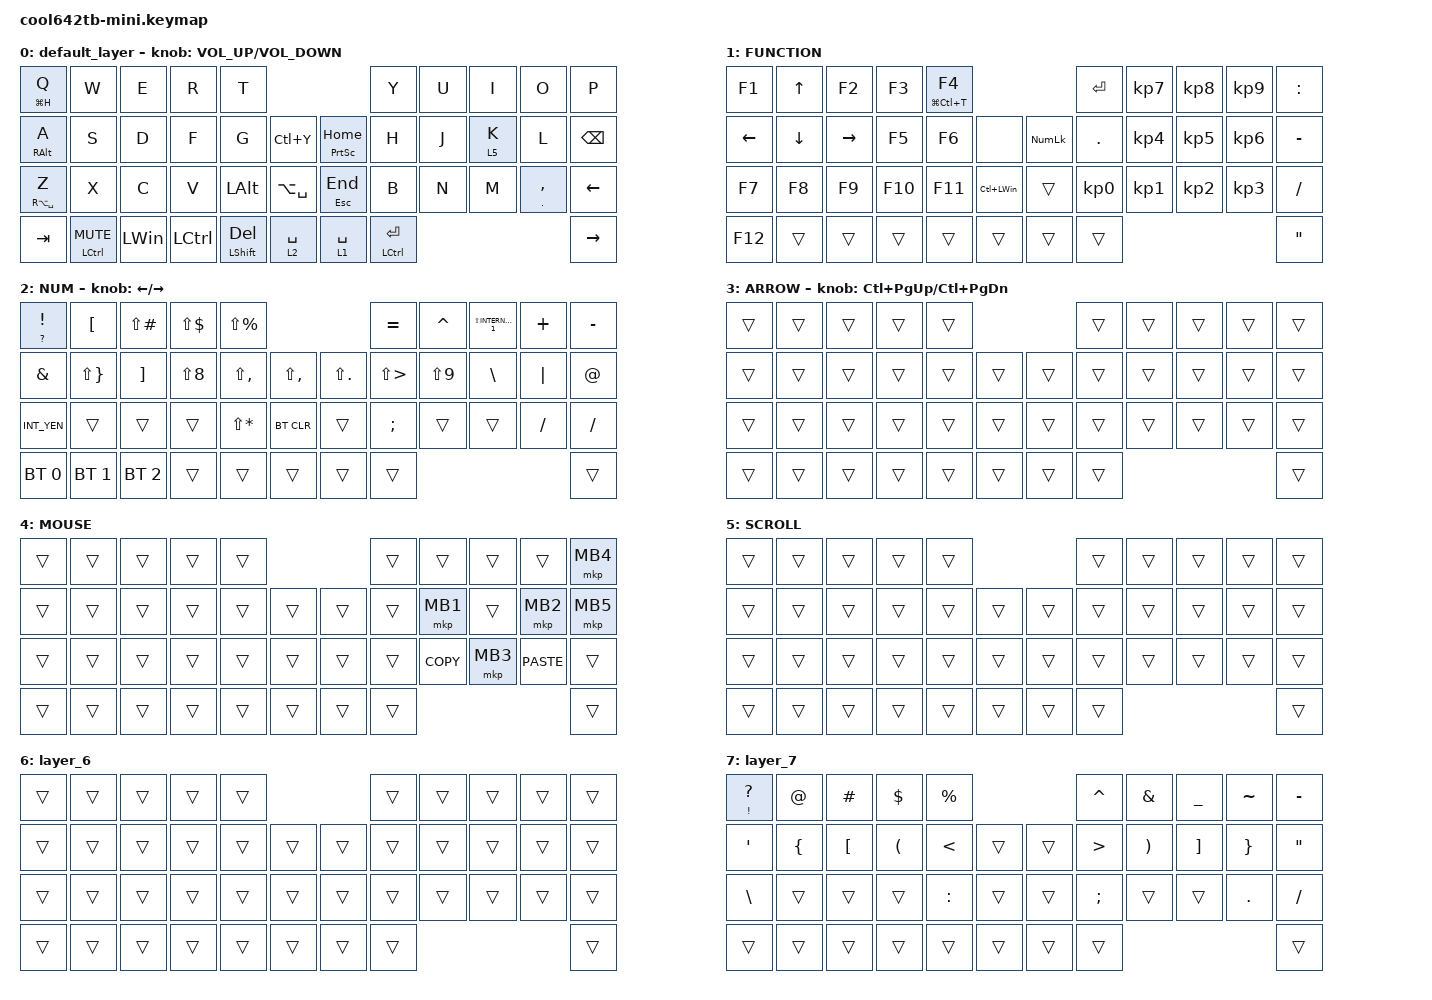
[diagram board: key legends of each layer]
#include <behaviors.dtsi>
#include <dt-bindings/zmk/bt.h>
#include <dt-bindings/zmk/keys.h>
#include <dt-bindings/zmk/pointing.h>

#define MOUSE 4
#define SCROLL 5
#define NUM 6
#define ZMK_POINTING_DEFAULT_SCRL_VAL 80

&mt {
    tapping-term-ms = <200>;
    quick-tap-ms = <0>;
    require-prior-idle-ms = <0>;
    flavor = "tap-preferred";
};

/ {
    combos {
        compatible = "zmk,combos";

        shift_tab {
            bindings = <&kp LANG2>;
            key-positions = <12 13>;
        };

        lang {
            bindings = <&kp LANG1>;
            key-positions = <18 19>;
        };

        play_pause {
            bindings = <&kp C_PLAY_PAUSE>;
            key-positions = <25 24>;
            layers = <0>;
        };

        hihun {
            bindings = <&kp MINUS>;
            key-positions = <20 21>;
        };

        Copy {
            bindings = <&kp LC(C)>;
            key-positions = <11 12>;
        };

        Cut {
            bindings = <&kp LC(X)>;
            key-positions = <1 2>;
        };

        Paste {
            bindings = <&kp LC(V)>;
            key-positions = <23 24>;
        };

        MLclick {
            bindings = <&mkp LCLK>;
            key-positions = <18 19 20>;
        };

        MRclick {
            bindings = <&mkp RCLK>;
            key-positions = <19 20>;
        };

        MCclick {
            bindings = <&mkp MCLK>;
            key-positions = <30 31 32>;
        };

        typeless-nandemo {
            bindings = <&kp LC(BACKSPACE)>;
            key-positions = <26 25>;
        };

        typeless-input {
            bindings = <&kp LC(SPACE)>;
            key-positions = <25 24>;
        };
    };

    behaviors {
        encoder_msc_down_up: encoder_msc_down_up {
            compatible = "zmk,behavior-sensor-rotate";
            label = "ENCODER_MSC_DOWN_UP";
            #sensor-binding-cells = <0>;
            bindings = <&msc SCRL_UP>, <&msc SCRL_DOWN>;

            tap-ms = <20>;
        };
    };

    keymap {
        compatible = "zmk,keymap";

        default_layer {
            bindings = <
&mt LG(H) Q      &kp W             &kp E         &kp R      &kp T                                                      &kp Y            &kp U  &kp I    &kp O          &kp P
&mt RIGHT_ALT A  &kp S             &kp D         &kp F      &kp G             &kp LC(Y)          &mt PRINTSCREEN HOME  &kp H            &kp J  &lt 5 K  &kp L          &kp BACKSPACE
&mt RA(SPACE) Z  &kp X             &kp C         &kp V      &kp LEFT_ALT      &kp LA(SPACE)      &mt ESC END           &kp B            &kp N  &kp M    &mt DOT COMMA  &kp LEFT_ARROW
&kp TAB          &mt LCTRL C_MUTE  &kp LEFT_WIN  &kp LCTRL  &mt LSHFT DELETE  &lt 2 SPACE        &lt 1 SPACE           &mt LCTRL ENTER                                 &kp RIGHT_ARROW
            >;

            sensor-bindings = <&inc_dec_kp C_VOLUME_UP C_VOLUME_DOWN>;
        };

        FUNCTION {
            bindings = <
&kp F1    &kp UP_ARROW  &kp F2     &kp F3   &mt LG(LC(T)) F4                                        &kp ENTER        &kp KP_NUMBER_7  &kp KP_NUMBER_8  &kp KP_NUMBER_9  &kp COLON
&kp LEFT  &kp DOWN      &kp RIGHT  &kp F5   &kp F6            &none                 &kp KP_NUMLOCK  &kp DOT          &kp KP_NUMBER_4  &kp KP_NUMBER_5  &kp KP_NUMBER_6  &kp MINUS
&kp F7    &kp F8        &kp F9     &kp F10  &kp F11           &kp LC(LEFT_WIN)      &trans          &kp KP_NUMBER_0  &kp KP_NUMBER_1  &kp KP_NUMBER_2  &kp KP_NUMBER_3  &kp SLASH
&kp F12   &trans        &trans     &trans   &trans            &trans                &trans          &trans                                                              &kp DQT
            >;
        };

        NUM {
            bindings = <
&mt QUESTION EXCL  &kp LEFT_BRACKET     &kp LS(POUND)  &kp LS(DLLR)  &kp LS(PRCNT)                                  &kp EQUAL             &kp CARET   &kp LS(INTERNATIONAL_1)  &kp PLUS   &kp MINUS
&kp AMPERSAND      &kp LS(RIGHT_BRACE)  &kp RBKT       &kp LS(N8)    &kp LS(COMMA)  &kp LS(COMMA)      &kp LS(DOT)  &kp LS(GREATER_THAN)  &kp LS(N9)  &kp BSLH                 &kp PIPE   &kp AT
&kp INT_YEN        &trans               &trans         &trans        &kp LS(ASTRK)  &bt BT_CLR         &trans       &kp SEMI              &trans      &trans                   &kp SLASH  &kp SLASH
&bt BT_SEL 0       &bt BT_SEL 1         &bt BT_SEL 2   &trans        &trans         &trans             &trans       &trans                                                                &trans
            >;

            sensor-bindings = <&inc_dec_kp LEFT_ARROW RIGHT_ARROW>;
        };

        ARROW {
            bindings = <
&trans  &trans  &trans  &trans  &trans                      &trans  &trans  &trans  &trans  &trans
&trans  &trans  &trans  &trans  &trans  &trans      &trans  &trans  &trans  &trans  &trans  &trans
&trans  &trans  &trans  &trans  &trans  &trans      &trans  &trans  &trans  &trans  &trans  &trans
&trans  &trans  &trans  &trans  &trans  &trans      &trans  &trans                          &trans
            >;

            sensor-bindings = <&inc_dec_kp LC(PAGE_UP) LC(PAGE_DOWN)>;
        };

        MOUSE {
            bindings = <
&trans  &trans  &trans  &trans  &trans                      &trans  &trans      &trans    &trans       &mkp MB4
&trans  &trans  &trans  &trans  &trans  &trans      &trans  &trans  &mkp MB1    &trans    &mkp MB2     &mkp MB5
&trans  &trans  &trans  &trans  &trans  &trans      &trans  &trans  &kp K_COPY  &mkp MB3  &kp K_PASTE  &trans
&trans  &trans  &trans  &trans  &trans  &trans      &trans  &trans                                     &trans
            >;
        };

        SCROLL {
            bindings = <
&trans  &trans  &trans  &trans  &trans                      &trans  &trans  &trans  &trans  &trans
&trans  &trans  &trans  &trans  &trans  &trans      &trans  &trans  &trans  &trans  &trans  &trans
&trans  &trans  &trans  &trans  &trans  &trans      &trans  &trans  &trans  &trans  &trans  &trans
&trans  &trans  &trans  &trans  &trans  &trans      &trans  &trans                          &trans
            >;
        };

        layer_6 {
            bindings = <
&trans  &trans  &trans  &trans  &trans                      &trans  &trans  &trans  &trans  &trans
&trans  &trans  &trans  &trans  &trans  &trans      &trans  &trans  &trans  &trans  &trans  &trans
&trans  &trans  &trans  &trans  &trans  &trans      &trans  &trans  &trans  &trans  &trans  &trans
&trans  &trans  &trans  &trans  &trans  &trans      &trans  &trans                          &trans
            >;
        };

        layer_7 {
            bindings = <
&mt EXCL QUESTION  &kp AT          &kp HASH          &kp DOLLAR            &kp PERCENT                        &kp CARET         &kp AMPERSAND          &kp UNDER          &kp TILDE        &kp MINUS
&kp APOS           &kp LEFT_BRACE  &kp LEFT_BRACKET  &kp LEFT_PARENTHESIS  &kp LESS_THAN  &trans      &trans  &kp GREATER_THAN  &kp RIGHT_PARENTHESIS  &kp RIGHT_BRACKET  &kp RIGHT_BRACE  &kp DOUBLE_QUOTES
&kp BSLH           &trans          &trans            &trans                &kp COLON      &trans      &trans  &kp SEMI          &trans                 &trans             &kp DOT          &kp SLASH
&trans             &trans          &trans            &trans                &trans         &trans      &trans  &trans                                                                       &trans
            >;
        };
    };
};
